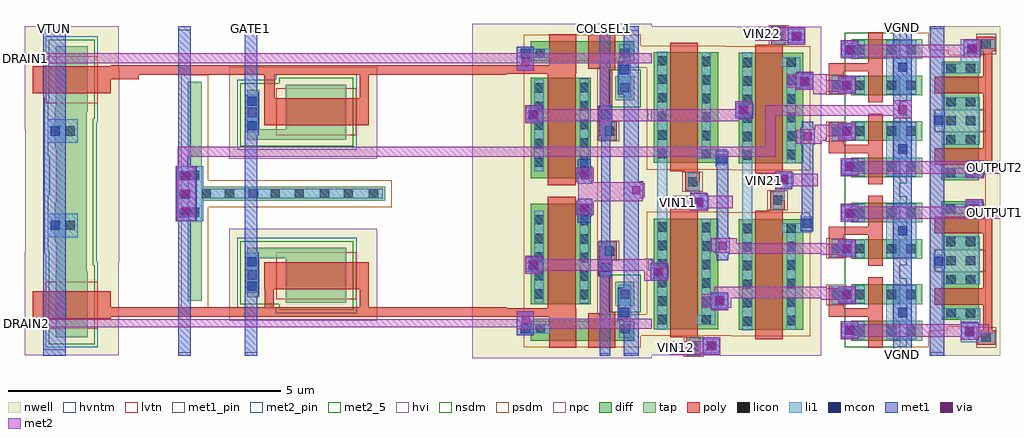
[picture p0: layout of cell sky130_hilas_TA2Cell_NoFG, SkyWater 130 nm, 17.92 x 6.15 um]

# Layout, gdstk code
from math import pi, radians
import gdstk
lib = gdstk.Library(unit=1e-6, precision=1e-09)
def R(c, l, rs):  # rectangles x0, y0, x1, y1
    for r in rs: c.add(gdstk.rectangle(r[:2], r[2:], *l))
def A(c, l, x, y, w, h, nx, ny, dx, dy):  # array of equal rectangles
    R(c, l, [(x+i*dx, y+j*dy, x+i*dx+w, y+j*dy+h) for i in range(nx) for j in range(ny)])
nwell = (64, 20)
diff = (65, 20)
tap = (65, 44)
poly = (66, 20)
licon = (66, 44)
li1 = (67, 20)
mcon = (67, 44)
met1_pin = (68, 16)
met1 = (68, 20)
via = (68, 44)
met2_5 = (69, 5)
met2_pin = (69, 16)
met2 = (69, 20)
hvi = (75, 20)
nsdm = (93, 44)
psdm = (94, 20)
npc = (95, 20)
hvntm = (125, 20)
lvtn = (125, 44)

sky130_hilas_poly2li = lib.new_cell('sky130_hilas_poly2li')
R(sky130_hilas_poly2li, poly, [(-0.09,-0.14,0.18,0.19)])
R(sky130_hilas_poly2li, licon, [(-0.04,-0.06,0.13,0.11)])
R(sky130_hilas_poly2li, li1, [(-0.04,-0.14,0.13,0.19)])
R(sky130_hilas_poly2li, npc, [(-0.14,-0.16,0.23,0.21)])

sky130_hilas_pfetmirror0 = lib.new_cell('sky130_hilas_pFETmirror02')
R(sky130_hilas_pfetmirror0, nwell, [(-0.61,0.89,0.67,3.73)])
R(sky130_hilas_pfetmirror0, diff, [(-0.4,1.36,0.28,2.24), (-0.4,2.65,0.28,3.54)])
R(sky130_hilas_pfetmirror0, tap, [(-0.4,2.24,0.28,2.65)])
R(sky130_hilas_pfetmirror0, poly, [(0.36,1.12,0.53,1.64), (-0.53,1.64,0.53,1.94), (0.36,1.94,0.53,2.95), (-0.53,2.95,0.53,3.25)])
R(sky130_hilas_pfetmirror0, licon, [(-0.315,1.4,-0.145,1.57), (0.045,1.4,0.215,1.57), (-0.315,2.01,-0.145,2.18), (0.045,2.01,0.215,2.18), (-0.315,2.36,-0.145,2.53), (0.045,2.36,0.215,2.53), (-0.32,2.715,-0.15,2.885), (0.045,2.715,0.215,2.885), (-0.325,3.315,-0.155,3.485), (0.035,3.315,0.205,3.485)])
R(sky130_hilas_pfetmirror0, li1, [(-0.05,0.95,0.28,1.12), (-0.05,1.12,0.31,1.4), (-0.4,1.4,0.31,1.57), (-0.4,2.01,0.3,2.89), (-0.41,3.31,0.29,3.49)])
R(sky130_hilas_pfetmirror0, nsdm, [(-0.525,2.24,0.405,2.65)])
R(sky130_hilas_pfetmirror0, psdm, [(-0.525,1.235,0.405,2.24), (-0.525,2.65,0.405,3.665)])
sky130_hilas_pfetmirror0.add(gdstk.Reference(sky130_hilas_poly2li, (0.39,1.08), rotation=3*pi/2))

sky130_hilas_nfet03 = lib.new_cell('sky130_hilas_nFET03')
R(sky130_hilas_nfet03, diff, [(-0.31,-0.06,0.58,0.29)])
R(sky130_hilas_nfet03, poly, [(0,-0.19,0.27,0.42)])
R(sky130_hilas_nfet03, licon, [(-0.245,0.03,-0.075,0.2), (0.345,0.03,0.515,0.2)])
R(sky130_hilas_nfet03, li1, [(-0.26,-0.05,-0.06,0.28), (0.33,-0.05,0.53,0.28)])
R(sky130_hilas_nfet03, nsdm, [(-0.435,-0.185,0.705,0.415)])

sky130_hilas_li2m2 = lib.new_cell('sky130_hilas_li2m2')
R(sky130_hilas_li2m2, li1, [(-0.13,-0.12,0.19,-0.09), (-0.13,-0.09,0.2,0.1), (-0.13,0.1,0.19,0.14)])
R(sky130_hilas_li2m2, mcon, [(-0.07,-0.08,0.1,0.09)])
R(sky130_hilas_li2m2, met1, [(-0.14,-0.15,0.18,0.17)])
R(sky130_hilas_li2m2, via, [(-0.055,-0.065,0.095,0.085)])
R(sky130_hilas_li2m2, met2, [(-0.14,-0.15,0.17,0.18)])

sky130_hilas_li2m1 = lib.new_cell('sky130_hilas_li2m1')
R(sky130_hilas_li2m1, li1, [(-0.08,-0.05,0.11,0.18)])
R(sky130_hilas_li2m1, mcon, [(-0.07,-0.02,0.1,0.15)])
R(sky130_hilas_li2m1, met1, [(-0.1,-0.08,0.13,0.21)])

sky130_hilas_nmirror03 = lib.new_cell('sky130_hilas_nMirror03')
R(sky130_hilas_nmirror03, diff, [(-0.05,0.07,0.84,0.08), (-0.05,1.09,0.84,1.1)])
R(sky130_hilas_nmirror03, tap, [(0.84,0.07,1.25,0.43), (0.84,0.74,1.25,1.1)])
R(sky130_hilas_nmirror03, poly, [(0.26,-0.06,0.53,-0.05), (0.26,0.07,0.53,0.08), (-0.46,0.43,-0.19,0.51), (-0.46,0.51,0.26,0.56), (-0.46,0.56,0.53,0.66), (0.26,1.09,0.53,1.1), (0.26,1.22,0.53,1.23)])
R(sky130_hilas_nmirror03, licon, [(0.96,0.17,1.13,0.34), (0.96,0.83,1.13,1)])
R(sky130_hilas_nmirror03, li1, [(0.79,0.09,1.14,0.42), (0.59,0.42,1.14,0.75), (0.59,0.75,0.78,0.76), (0.79,0.75,1.14,1.08)])
R(sky130_hilas_nmirror03, met2, [(-0.59,0.14,-0.26,0.35)])
R(sky130_hilas_nmirror03, nsdm, [(-0.175,-0.055,0.84,0.205), (-0.175,0.555,0.84,0.615), (-0.175,0.965,0.84,1.225)])
R(sky130_hilas_nmirror03, psdm, [(0.84,-0.055,1.375,0.08), (0.715,0.08,1.375,1.09), (0.84,1.09,1.375,1.225)])
sky130_hilas_nmirror03.add(gdstk.Reference(sky130_hilas_nfet03, (0.26,0.14)))
sky130_hilas_nmirror03.add(gdstk.Reference(sky130_hilas_nfet03, (0.26,0.8)))
sky130_hilas_nmirror03.add(gdstk.Reference(sky130_hilas_li2m2, (-0.1,0.9)))
sky130_hilas_nmirror03.add(gdstk.Reference(sky130_hilas_li2m2, (-0.15,0.25)))
sky130_hilas_nmirror03.add(gdstk.Reference(sky130_hilas_li2m1, (0.88,0.52)))
sky130_hilas_nmirror03.add(gdstk.Reference(sky130_hilas_poly2li, (-0.37,0.24)))

sky130_hilas_dualtacore0 = lib.new_cell('sky130_hilas_DualTACore01')
R(sky130_hilas_dualtacore0, met1, [(-0.41,-0.22,-0.07,5.5), (0.26,-0.21,0.53,5.49)])
R(sky130_hilas_dualtacore0, met2_5, [(1.44,2.93,1.55,3.16)])
R(sky130_hilas_dualtacore0, met2, [(-1.37,-0.06,1.34,0.17), (-1.36,2.11,1.55,2.33), (-1.1,2.93,1.55,3.16), (-1.36,5.07,1.18,5.3)])
A(sky130_hilas_dualtacore0, nsdm, -1.305, 1.025, 1.015, 0.22, 1, 3, 0, 1.5)
R(sky130_hilas_dualtacore0, psdm, [(0.245,0.05,0.585,0.125), (0.245,0.125,0.355,1.025), (-0.29,1.025,0.355,1.245), (0.245,1.245,0.355,2.525), (-0.29,2.525,0.355,2.555), (-0.29,2.555,1.285,2.685), (-0.29,2.685,0.355,2.745), (0.245,2.745,0.355,4.025), (-0.29,4.025,0.355,4.245), (0.245,4.245,0.355,5.115), (0.245,5.115,0.605,5.205)])
sky130_hilas_dualtacore0.add(gdstk.Reference(sky130_hilas_pfetmirror0, (0.88,-1.11)))
sky130_hilas_dualtacore0.add(gdstk.Reference(sky130_hilas_nmirror03, (-1.13,1.3)))
sky130_hilas_dualtacore0.add(gdstk.Reference(sky130_hilas_nmirror03, (-1.13,0.97), x_reflection=True))
sky130_hilas_dualtacore0.add(gdstk.Reference(sky130_hilas_li2m1, (0.41,1.26)))
sky130_hilas_dualtacore0.add(gdstk.Reference(sky130_hilas_li2m2, (1.06,2.28)))
sky130_hilas_dualtacore0.add(gdstk.Reference(sky130_hilas_li2m2, (0.98,0.03)))
sky130_hilas_dualtacore0.add(gdstk.Reference(sky130_hilas_pfetmirror0, (0.88,6.35), x_reflection=True))
sky130_hilas_dualtacore0.add(gdstk.Reference(sky130_hilas_nmirror03, (-1.13,3.97), x_reflection=True))
sky130_hilas_dualtacore0.add(gdstk.Reference(sky130_hilas_nmirror03, (-1.13,4.3)))
sky130_hilas_dualtacore0.add(gdstk.Reference(sky130_hilas_li2m1, (0.41,3.85)))
sky130_hilas_dualtacore0.add(gdstk.Reference(sky130_hilas_li2m2, (1.07,3)))
sky130_hilas_dualtacore0.add(gdstk.Reference(sky130_hilas_li2m2, (1.02,5.22)))
sky130_hilas_dualtacore0.add(gdstk.Label('output1', (1.495,3.045), layer=69, texttype=5))

sky130_hilas_ptransistor = lib.new_cell('sky130_hilas_pTransistorVert01')
R(sky130_hilas_ptransistor, nwell, [(-3.63,-4.44,-1.77,-1.45)])
R(sky130_hilas_ptransistor, diff, [(-3.29,-3.96,-2.1,-1.93)])
R(sky130_hilas_ptransistor, poly, [(-2.98,-4.11,-2.48,-1.75)])
A(sky130_hilas_ptransistor, licon, -2.41, -3.88, 0.17, 0.17, 1, 6, 0, 0.34)
A(sky130_hilas_ptransistor, licon, -3.22, -3.87, 0.17, 0.17, 1, 6, 0, 0.34)
R(sky130_hilas_ptransistor, li1, [(-3.22,-3.97,-3.04,-1.92), (-2.49,-3.88,-2.16,-3.71), (-2.41,-3.71,-2.24,-1.93)])
R(sky130_hilas_ptransistor, hvi, [(-3.63,-4.44,-1.77,-1.45)])
R(sky130_hilas_ptransistor, psdm, [(-3.415,-4.085,-1.975,-1.805)])

sky130_hilas_m12m2 = lib.new_cell('sky130_hilas_m12m2')
R(sky130_hilas_m12m2, met1, [(-0.06,-0.1,0.2,0.22)])
R(sky130_hilas_m12m2, via, [(-0.005,-0.015,0.145,0.135)])
R(sky130_hilas_m12m2, met2, [(-0.09,-0.07,0.23,0.19)])

c_sky130_hilas_ptransistor = lib.new_cell('sky130_hilas_pTransistorPair')
R(c_sky130_hilas_ptransistor, nwell, [(2.67,-1.69,3.12,-1.46), (1.33,-1.4,3.19,-1.33)])
R(c_sky130_hilas_ptransistor, poly, [(2.27,-4.07,2.48,-4.06), (2.25,-1.04,2.48,-1)])
R(c_sky130_hilas_ptransistor, li1, [(2.49,-4.35,2.56,-4.09), (2.72,-3.66,2.8,-3.52), (2.72,-3.52,2.79,-3.5), (1.74,-1.92,1.92,-0.86), (2.35,-1.46,2.52,-1.33), (2.47,-1.33,2.52,-1.2), (2.79,-0.78,2.87,-0.7), (2.79,-0.7,3.01,-0.61)])
R(c_sky130_hilas_ptransistor, met1, [(2.83,-2.65,3.04,-0.88)])
R(c_sky130_hilas_ptransistor, met2, [(2.01,-4.38,2.89,-4.13), (2.55,-3.52,3.1,-3.27), (2.73,-2.49,3.2,-2.24), (2.25,-1.7,2.68,-1.69), (2.25,-1.69,3.12,-1.46)])
R(c_sky130_hilas_ptransistor, hvi, [(1.33,-1.4,3.19,-1.34)])
c_sky130_hilas_ptransistor.add(gdstk.Reference(sky130_hilas_ptransistor, (4.96,0.05)))
c_sky130_hilas_ptransistor.add(gdstk.Reference(sky130_hilas_m12m2, (2.87,-2.44)))
c_sky130_hilas_ptransistor.add(gdstk.Reference(sky130_hilas_li2m2, (1.75,-2.87)))
c_sky130_hilas_ptransistor.add(gdstk.Reference(sky130_hilas_li2m2, (2.75,-4.21), rotation=pi))
c_sky130_hilas_ptransistor.add(gdstk.Reference(sky130_hilas_li2m2, (2.48,-1.59)))
c_sky130_hilas_ptransistor.add(gdstk.Reference(sky130_hilas_li2m2, (2.9,-3.38), rotation=pi))
c_sky130_hilas_ptransistor.add(gdstk.Reference(sky130_hilas_poly2li, (2.36,-4.26)))
c_sky130_hilas_ptransistor.add(gdstk.Reference(sky130_hilas_ptransistor, (4.96,3.1)))
c_sky130_hilas_ptransistor.add(gdstk.Reference(sky130_hilas_li2m1, (2.91,-0.85)))
c_sky130_hilas_ptransistor.add(gdstk.Reference(sky130_hilas_poly2li, (2.34,-1.23)))

sky130_hilas_fgvaractorc = lib.new_cell('sky130_hilas_FGVaractorCapacitor02')
R(sky130_hilas_fgvaractorc, nwell, [(-10.05,-3.8,-7.33,-2.15), (-10.05,-2.15,-7.34,-2.11)])
R(sky130_hilas_fgvaractorc, tap, [(-9.01,-3.47,-7.9,-2.65), (-9.72,-3.37,-9.5,-2.65), (-9.72,-2.65,-7.9,-2.46)])
R(sky130_hilas_fgvaractorc, poly, [(-9.41,-3.22,-7.49,-2.72)])
R(sky130_hilas_fgvaractorc, licon, [(-9.715,-3.04,-9.545,-2.87)])
R(sky130_hilas_fgvaractorc, li1, [(-9.75,-3.28,-9.52,-2.59)])
R(sky130_hilas_fgvaractorc, mcon, [(-9.72,-3.25,-9.55,-3.08), (-9.72,-2.8,-9.55,-2.63)])
R(sky130_hilas_fgvaractorc, met1, [(-9.77,-3.33,-9.51,-2.54)])
R(sky130_hilas_fgvaractorc, hvi, [(-10.05,-3.8,-7.33,-2.15), (-10.05,-2.15,-7.34,-2.11)])
R(sky130_hilas_fgvaractorc, nsdm, [(-9.135,-3.595,-7.775,-3.495), (-9.845,-3.495,-7.775,-2.335)])
R(sky130_hilas_fgvaractorc, hvntm, [(-9.195,-3.655,-7.715,-3.555), (-9.905,-3.555,-7.715,-2.275)])
R(sky130_hilas_fgvaractorc, lvtn, [(-9.19,-3.4,-7.72,-2.54)])

sky130_hilas_tuncap01 = lib.new_cell('sky130_hilas_TunCap01')
R(sky130_hilas_tuncap01, nwell, [(-14.51,-4,-12.78,-2.1)])
R(sky130_hilas_tuncap01, tap, [(-13.94,-3.67,-13.35,-2.47)])
R(sky130_hilas_tuncap01, poly, [(-14.36,-3.33,-12.93,-2.83)])
R(sky130_hilas_tuncap01, hvi, [(-14.51,-4,-12.78,-2.1)])
R(sky130_hilas_tuncap01, nsdm, [(-14.065,-3.795,-13.225,-2.345)])
R(sky130_hilas_tuncap01, hvntm, [(-14.125,-3.855,-13.165,-2.285)])
R(sky130_hilas_tuncap01, lvtn, [(-14.12,-3.51,-13.17,-2.65)])

sky130_hilas_wellcontact = lib.new_cell('sky130_hilas_wellContact')
R(sky130_hilas_wellcontact, nwell, [(-14.48,-4.4,-12.75,-2.56)])
R(sky130_hilas_wellcontact, tap, [(-13.94,-4.05,-13.35,-3.31)])
R(sky130_hilas_wellcontact, licon, [(-13.735,-3.82,-13.565,-3.65)])
R(sky130_hilas_wellcontact, li1, [(-14.06,-3.95,-13.51,-3.52)])
R(sky130_hilas_wellcontact, mcon, [(-14.01,-3.82,-13.84,-3.65)])
R(sky130_hilas_wellcontact, met1, [(-14.12,-4.41,-13.73,-2.55)])
R(sky130_hilas_wellcontact, hvi, [(-14.48,-4.4,-12.75,-2.56)])
R(sky130_hilas_wellcontact, nsdm, [(-14.065,-4.175,-13.225,-3.185)])

sky130_hilas_horiztransc = lib.new_cell('sky130_hilas_horizTransCell01')
R(sky130_hilas_horiztransc, nwell, [(-3.63,0.42,-0.33,3.59)])
R(sky130_hilas_horiztransc, diff, [(-2.56,0.75,-0.66,1.11), (-2.56,1.42,-1.45,3.26)])
R(sky130_hilas_horiztransc, tap, [(-1,1.39,-0.66,1.83)])
R(sky130_hilas_horiztransc, poly, [(-2.22,0.62,-1.72,1.19), (-1.5,0.62,-1,1.25), (-4.76,1.19,-1.72,1.33), (-1.29,1.25,-1,1.27), (-1.29,1.27,-1.06,1.93), (-4.76,1.33,-1.73,1.34), (-4.76,1.34,-3,1.36), (-2.24,1.34,-1.73,3.39), (-1.33,1.93,-1.06,2.22), (-1.33,2.22,-0.98,2.56)])
A(sky130_hilas_horiztransc, licon, -1.66, 1.51, 0.17, 0.17, 1, 5, 0, 0.34)
A(sky130_hilas_horiztransc, licon, -2.49, 1.52, 0.17, 0.17, 1, 5, 0, 0.34)
R(sky130_hilas_horiztransc, licon, [(-2.465,0.88,-2.295,1.05), (-0.915,0.88,-0.745,1.05), (-0.915,1.515,-0.745,1.685), (-1.2,2.31,-1.03,2.48)])
R(sky130_hilas_horiztransc, li1, [(-0.93,0.8,-0.73,1.15), (-2.74,0.88,-2.21,1.05), (-0.93,1.15,-0.72,1.18), (-0.94,1.18,-0.72,1.76), (-1.66,1.43,-1.49,3.04), (-2.49,1.44,-2.32,3.13), (-0.93,1.76,-0.72,1.77), (-1.29,1.93,-1.1,1.94), (-1.29,1.94,-1.09,2.23), (-1.3,2.23,-1.01,2.56), (-1.66,3.04,-1.48,3.23)])
R(sky130_hilas_horiztransc, mcon, [(-2.735,0.88,-2.565,1.05), (-0.92,1.18,-0.75,1.35), (-1.275,2.01,-1.105,2.18), (-1.655,3.05,-1.485,3.22)])
R(sky130_hilas_horiztransc, met1, [(-1.29,0.48,-1.1,1.93), (-0.85,0.48,-0.69,1.12), (-2.81,0.85,-2.5,1.29), (-0.96,1.12,-0.69,1.67), (-0.96,1.67,-0.68,1.72), (-0.85,1.72,-0.68,1.81), (-0.85,1.81,-0.69,3.5), (-1.29,1.93,-1.07,1.96), (-1.31,1.96,-1.06,2.23), (-1.3,2.23,-1.06,2.24), (-1.3,2.24,-1.07,2.48), (-1.26,2.48,-1.1,3.5), (-1.69,2.91,-1.45,3.29)])
R(sky130_hilas_horiztransc, via, [(-2.725,1.055,-2.575,1.205)])
R(sky130_hilas_horiztransc, met2, [(-2.81,0.96,-2.5,0.97), (-2.81,0.97,-0.33,1.15), (-2.81,1.15,-2.5,1.29)])
R(sky130_hilas_horiztransc, hvi, [(-3.63,0.42,-0.33,3.59)])
R(sky130_hilas_horiztransc, nsdm, [(-1.125,1.265,-0.535,1.955)])
R(sky130_hilas_horiztransc, psdm, [(-2.685,0.625,-0.535,1.235), (-2.685,1.235,-1.325,3.385)])
R(sky130_hilas_horiztransc, npc, [(-1.3,2.21,-0.93,2.58)])

sky130_hilas_fgbias2x1ce = lib.new_cell('sky130_hilas_FGBias2x1cell')
R(sky130_hilas_fgbias2x1ce, nwell, [(-3.37,-2.42,-2.81,0), (6.61,2.19,6.8,2.22), (4.27,2.22,7.57,2.23)])
R(sky130_hilas_fgbias2x1ce, tap, [(-0.95,-2.81,-0.7,-0.97), (-3.37,-2.42,-2.81,0), (-0.95,-0.97,2.67,-0.72), (-0.95,-0.72,-0.7,1.21)])
R(sky130_hilas_fgbias2x1ce, poly, [(-2.8,-3.1,3.31,-2.93), (0.46,-2.93,0.63,-2.6), (2.2,-2.93,2.37,-2.6), (2.2,0.9,2.37,1.34), (0.45,0.91,0.64,1.34), (-2.37,1.26,-1.85,1.34), (-2.37,1.34,3.32,1.51)])
R(sky130_hilas_fgbias2x1ce, licon, [(-0.91,-1.27,-0.74,-1.1), (-0.7,-0.93,-0.53,-0.76), (-0.27,-0.93,-0.1,-0.76), (0.17,-0.93,0.34,-0.76), (0.57,-0.93,0.74,-0.76), (1.01,-0.93,1.18,-0.76), (1.91,-0.93,2.08,-0.76), (2.37,-0.93,2.54,-0.76), (1.47,-0.92,1.64,-0.75), (-0.91,-0.59,-0.74,-0.42)])
R(sky130_hilas_fgbias2x1ce, li1, [(0.11,-1.97,0.34,-1.93), (-0.92,-1.35,-0.73,-0.93), (-0.92,-0.93,2.63,-0.75), (-0.92,-0.75,-0.73,-0.34)])
R(sky130_hilas_fgbias2x1ce, met1_pin, [(-3.61,-3.82,-3.19,-3.7), (-1.13,-3.82,-0.9,-3.76), (0.09,-3.82,0.32,-3.76), (6.61,-3.82,6.8,-3.77), (7.05,-3.82,7.33,-3.77), (0.09,2.15,0.32,2.23), (-3.61,2.16,-3.19,2.23), (-1.13,2.16,-0.9,2.23), (7.05,2.16,7.33,2.23), (6.61,2.19,6.8,2.23)])
R(sky130_hilas_fgbias2x1ce, met1, [(-3.61,-3.82,-3.19,2.23), (-1.13,-3.82,-0.9,2.23), (0.09,-3.82,0.32,2.23), (6.61,-3.82,6.8,-3.77), (7.05,-3.82,7.33,2.23), (6.61,2.19,6.8,2.23)])
R(sky130_hilas_fgbias2x1ce, met2_pin, [(-3.96,-3.3,-3.9,-3.15), (7.5,-2.26,7.57,-2.05), (7.49,0.49,7.57,0.71), (-3.96,1.55,-3.89,1.73)])
R(sky130_hilas_fgbias2x1ce, met2, [(-3.96,-3.3,5.14,-3.2), (-3.96,-3.2,5.26,-3.15), (5.1,-3.15,5.26,-3.13), (5.53,-2.26,7.57,-2.05), (6.22,-0.98,7.4,-0.63), (5.54,0.49,7.57,0.71), (-3.96,1.55,5.16,1.73)])
R(sky130_hilas_fgbias2x1ce, hvi, [(-3.555,-2.605,-2.625,0.185)])
R(sky130_hilas_fgbias2x1ce, nsdm, [(-3.495,-2.545,-2.685,-2.155), (-3.505,-2.155,-2.685,-1.865), (-3.495,-1.865,-2.685,0.125)])
R(sky130_hilas_fgbias2x1ce, psdm, [(-1.075,-2.935,-0.575,-1.095), (-1.075,-1.095,2.795,-0.595), (5.215,-0.905,6.575,-0.685), (-1.075,-0.595,-0.575,1.335)])
R(sky130_hilas_fgbias2x1ce, hvntm, [(-3.565,-2.095,-2.625,-1.925), (-3.585,-1.925,-2.625,0.475), (-3.585,0.475,-3.565,0.915)])
sky130_hilas_fgbias2x1ce.add(gdstk.Reference(sky130_hilas_li2m1, (-1.03,-0.92)))
sky130_hilas_fgbias2x1ce.add(gdstk.Reference(sky130_hilas_fgvaractorc, (9.86,0.62)))
sky130_hilas_fgbias2x1ce.add(gdstk.Reference(sky130_hilas_fgvaractorc, (9.86,-2.31), x_reflection=True))
sky130_hilas_fgbias2x1ce.add(gdstk.Reference(sky130_hilas_tuncap01, (10.56,0.19)))
sky130_hilas_fgbias2x1ce.add(gdstk.Reference(sky130_hilas_tuncap01, (10.56,4.33)))
sky130_hilas_fgbias2x1ce.add(gdstk.Reference(sky130_hilas_wellcontact, (10.54,2.31)))
sky130_hilas_fgbias2x1ce.add(gdstk.Reference(sky130_hilas_wellcontact, (10.54,4.04)))
sky130_hilas_fgbias2x1ce.add(gdstk.Reference(sky130_hilas_horiztransc, (7.9,-4.29)))
sky130_hilas_fgbias2x1ce.add(gdstk.Reference(sky130_hilas_horiztransc, (7.9,2.7), x_reflection=True))
sky130_hilas_fgbias2x1ce.add(gdstk.Reference(sky130_hilas_li2m2, (5.38,-2.16)))
sky130_hilas_fgbias2x1ce.add(gdstk.Reference(sky130_hilas_li2m2, (5.38,0.6)))
sky130_hilas_fgbias2x1ce.add(gdstk.Reference(sky130_hilas_m12m2, (6.27,-1.16)))
sky130_hilas_fgbias2x1ce.add(gdstk.Reference(sky130_hilas_m12m2, (6.27,-0.56)))
sky130_hilas_fgbias2x1ce.add(gdstk.Reference(sky130_hilas_m12m2, (7.21,-0.84)))
sky130_hilas_fgbias2x1ce.add(gdstk.Label('VTUN', (-3.4,2.195), layer=68, texttype=16))
sky130_hilas_fgbias2x1ce.add(gdstk.Label('VTUN', (-3.4,-3.76), layer=68, texttype=16))
sky130_hilas_fgbias2x1ce.add(gdstk.Label('VGND', (-1.015,2.195), layer=68, texttype=16))
sky130_hilas_fgbias2x1ce.add(gdstk.Label('VGND', (-1.015,-3.79), layer=68, texttype=16))
sky130_hilas_fgbias2x1ce.add(gdstk.Label('GATE_CONTROL', (0.205,2.19), layer=68, texttype=16))
sky130_hilas_fgbias2x1ce.add(gdstk.Label('GATE_CONTROL', (0.205,-3.79), layer=68, texttype=16))
sky130_hilas_fgbias2x1ce.add(gdstk.Label('DRAIN1', (-3.925,1.64), layer=69, texttype=16))
sky130_hilas_fgbias2x1ce.add(gdstk.Label('DRAIN4', (-3.93,-3.225), layer=69, texttype=16))
sky130_hilas_fgbias2x1ce.add(gdstk.Label('VINJ', (7.19,2.195), layer=68, texttype=16))
sky130_hilas_fgbias2x1ce.add(gdstk.Label('OUTPUT1', (7.53,0.6), layer=69, texttype=16))
sky130_hilas_fgbias2x1ce.add(gdstk.Label('OUTPUT2', (7.535,-2.155), layer=69, texttype=16))
sky130_hilas_fgbias2x1ce.add(gdstk.Label('GATECOL', (6.705,2.21), layer=68, texttype=16))
sky130_hilas_fgbias2x1ce.add(gdstk.Label('GATECOL', (6.705,-3.795), layer=68, texttype=16))
sky130_hilas_fgbias2x1ce.add(gdstk.Label('VINJ', (7.19,-3.795), layer=68, texttype=16))

sky130_hilas_ta2cell_nof = lib.new_cell('sky130_hilas_TA2Cell_NoFG')
R(sky130_hilas_ta2cell_nof, nwell, [(1.91,1.4,3.19,1.59), (-2.82,4.1,-2.54,4.34), (-3.28,5.71,-1.62,5.93), (1.92,7.27,3.19,7.45)])
R(sky130_hilas_ta2cell_nof, li1, [(-11.9,3.87,-11.44,4.88)])
R(sky130_hilas_ta2cell_nof, mcon, [(-11.87,3.93,-11.7,4.1), (-11.87,4.62,-11.7,4.79)])
R(sky130_hilas_ta2cell_nof, met1_pin, [(1.23,1.4,1.57,1.46), (1.9,1.4,2.17,1.46), (-10.68,7.37,-10.45,7.45), (-4.16,7.37,-3.97,7.45), (-3.72,7.37,-3.44,7.45), (-14.38,7.38,-13.96,7.45), (1.23,7.4,1.57,7.45), (1.9,7.4,2.17,7.45)])
R(sky130_hilas_ta2cell_nof, met1, [(1.23,1.4,1.57,1.59), (1.9,1.4,2.17,1.61), (-11.94,3.87,-11.56,4.88), (1.27,5.79,1.53,6.05), (1.9,7.3,2.17,7.45), (1.23,7.31,1.57,7.45), (-10.68,7.37,-10.45,7.45), (-4.16,7.37,-3.97,7.45), (-3.72,7.37,-3.44,7.45), (-14.38,7.38,-13.96,7.45)])
A(sky130_hilas_ta2cell_nof, via, -11.83, 3.98, 0.15, 0.15, 1, 3, 0, 0.32)
R(sky130_hilas_ta2cell_nof, via, [(1.325,5.845,1.475,5.995)])
R(sky130_hilas_ta2cell_nof, met2_pin, [(-2.86,1.42,-2.63,1.67), (-14.73,1.92,-14.65,2.07), (3.04,3.92,3.19,4.14), (-2.82,4.1,-2.59,4.34), (-1.26,4.51,-1.01,4.74), (3.04,4.74,3.19,4.96), (-14.73,6.77,-14.66,6.95), (-1.3,7.18,-1.05,7.44)])
R(sky130_hilas_ta2cell_nof, met2, [(-2.86,1.42,-2.6,1.67), (-14.73,1.92,-14.65,2.07), (-2.06,2.46,0,2.67), (-3.34,2.78,-3.18,3.18), (-1.77,3.27,0,3.47), (-11.93,3.88,-11.58,4.87), (3.04,3.92,3.19,4.14), (-2.82,4.1,-2.54,4.34), (-1.26,4.51,-1.01,4.74), (3.04,4.74,3.19,4.96), (-11.91,4.87,-11.72,5.05), (-11.91,5.05,-0.93,5.24), (-1.12,5.24,-0.93,5.81), (-0.21,5.35,0,5.64), (-3.28,5.71,-1.62,5.93), (1.23,5.76,1.57,5.81), (-1.12,5.81,1.57,6), (1.23,6,1.57,6.09), (-0.24,6.2,0.01,6.57), (-14.73,6.77,-14.66,6.95), (-1.3,7.18,-1.05,7.44)])
R(sky130_hilas_ta2cell_nof, psdm, [(-3.405,1.765,-3.295,2.165), (-1.855,1.765,-1.735,4.035), (-1.855,4.815,-1.735,7.085), (-3.405,6.685,-3.295,7.095)])
sky130_hilas_ta2cell_nof.add(gdstk.Reference(sky130_hilas_dualtacore0, (1.64,1.81)))
sky130_hilas_ta2cell_nof.add(gdstk.Reference(c_sky130_hilas_ptransistor, (-4.84,5.8)))
sky130_hilas_ta2cell_nof.add(gdstk.Reference(c_sky130_hilas_ptransistor, (-3.28,3.05), x_reflection=True))
sky130_hilas_ta2cell_nof.add(gdstk.Reference(sky130_hilas_fgbias2x1ce, (-10.77,5.22)))
sky130_hilas_ta2cell_nof.add(gdstk.Label('COLSEL1', (-4.065,7.41), layer=68, texttype=16))
sky130_hilas_ta2cell_nof.add(gdstk.Label('VIN12', (-2.745,1.545), layer=69, texttype=16))
sky130_hilas_ta2cell_nof.add(gdstk.Label('VIN21', (-1.135,4.625), layer=69, texttype=16))
sky130_hilas_ta2cell_nof.add(gdstk.Label('VIN22', (-1.175,7.31), layer=69, texttype=16))
sky130_hilas_ta2cell_nof.add(gdstk.Label('OUTPUT1', (3.115,4.03), layer=69, texttype=16))
sky130_hilas_ta2cell_nof.add(gdstk.Label('OUTPUT2', (3.115,4.85), layer=69, texttype=16))
sky130_hilas_ta2cell_nof.add(gdstk.Label('VGND', (1.4,1.43), layer=68, texttype=16))
sky130_hilas_ta2cell_nof.add(gdstk.Label('VGND', (1.4,7.425), layer=68, texttype=16))
sky130_hilas_ta2cell_nof.add(gdstk.Label('VPWR', (2.035,1.43), layer=68, texttype=16))
sky130_hilas_ta2cell_nof.add(gdstk.Label('VPWR', (2.035,7.425), layer=68, texttype=16))
sky130_hilas_ta2cell_nof.add(gdstk.Label('DRAIN1', (-14.695,6.86), layer=69, texttype=16))
sky130_hilas_ta2cell_nof.add(gdstk.Label('DRAIN2', (-14.69,1.995), layer=69, texttype=16))
sky130_hilas_ta2cell_nof.add(gdstk.Label('VTUN', (-14.17,7.415), layer=68, texttype=16))
sky130_hilas_ta2cell_nof.add(gdstk.Label('GATE1', (-10.565,7.41), layer=68, texttype=16))
sky130_hilas_ta2cell_nof.add(gdstk.Label('VINJ', (-3.58,7.41), layer=68, texttype=16))
sky130_hilas_ta2cell_nof.add(gdstk.Label('VIN11', (-2.705,4.22), layer=69, texttype=16))

lib.write_gds('sky130_hilas_TA2Cell_NoFG.gds')
